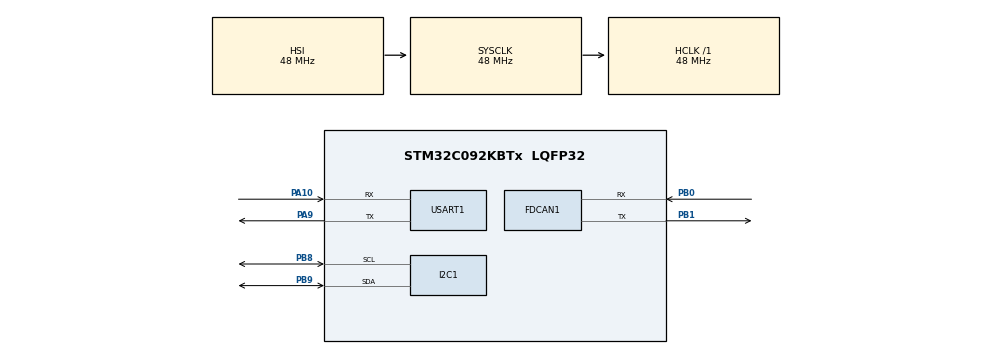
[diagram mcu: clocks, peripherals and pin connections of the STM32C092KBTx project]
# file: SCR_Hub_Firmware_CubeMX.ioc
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FDCAN1.CalculateBaudRateNominal=125000
FDCAN1.CalculateTimeBitNominal=8000
FDCAN1.CalculateTimeQuantumNominal=500.0
FDCAN1.NominalPrescaler=4
FDCAN1.NominalSyncJumpWidth=4
FDCAN1.NominalTimeSeg1=11
FDCAN1.NominalTimeSeg2=4
I2C1.Timing=0x10805D88
Mcu.Family=STM32C0
Mcu.Name=STM32C092KBTx
Mcu.Package=LQFP32
NVIC.FDCAN1_IT0_IRQn=true\:0\:0\:false\:false\:true\:true\:true\:true
NVIC.USART1_IRQn=true\:0\:0\:false\:false\:true\:true\:true\:true
PA10.Mode=Asynchronous
PA10.Signal=USART1_RX
PA13.Mode=Serial_Wire
PA13.Signal=DEBUG_SWDIO
PA14-BOOT0.Mode=Serial_Wire
PA14-BOOT0.Signal=DEBUG_SWCLK
PA9.Mode=Asynchronous
PA9.Signal=USART1_TX
PB0.Mode=FDCAN_Activate
PB0.Signal=FDCAN1_RX
PB1.Mode=FDCAN_Activate
PB1.Signal=FDCAN1_TX
PB8.Mode=I2C
PB8.Signal=I2C1_SCL
PB9.Mode=I2C
PB9.Signal=I2C1_SDA
PC14-OSCX_IN(PC14).Mode=HSE-External-Oscillator
PC14-OSCX_IN(PC14).Signal=RCC_OSCX_IN
PC15-OSCX_OUT(PC15).Mode=HSE-External-Oscillator
PC15-OSCX_OUT(PC15).Signal=RCC_OSCX_OUT
ProjectManager.HeapSize=0x200
ProjectManager.StackSize=0x400
ProjectManager.TargetToolchain=STM32CubeIDE
RCC.ADCFreq_Value=48000000
RCC.AHBFreq_Value=48000000
RCC.CortexFreq_Value=48000000
RCC.EXTERNAL_CLOCK_VALUE=12288000
RCC.FDCAN1CLockSelection=RCC_FDCAN1CLKSOURCE_HSE
RCC.HCLKFreq_Value=48000000
RCC.HSISYSCLKDivider=RCC_HSI_DIV1
RCC.HSI_VALUE=48000000
RCC.LSE_VALUE=32768
RCC.SYSCLKFreq_VALUE=48000000
USART1.VirtualMode-Asynchronous=VM_ASYNC
board=custom

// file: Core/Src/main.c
/* USER CODE BEGIN Header */
/**
  ******************************************************************************
  * @file           : main.c
  * @brief          : Main program body
  ******************************************************************************
  * @attention
  *
  * Copyright (c) 2026 STMicroelectronics.
  * All rights reserved.
  *
  * This software is licensed under terms that can be found in the LICENSE file
  * in the root directory of this software component.
  * If no LICENSE file comes with this software, it is provided AS-IS.
  *
  ******************************************************************************
  */
/* USER CODE END Header */
#include "main.h"

/* USER CODE BEGIN Includes */
#include <stdio.h>
#include "app/console.h"   /* UART debug console (printf + command menu) */
#include "app/hub_clock.h" /* boot on HSI48, then try the 8 MHz crystal */
/* USER CODE END Includes */

FDCAN_HandleTypeDef hfdcan1;

I2C_HandleTypeDef hi2c1;

UART_HandleTypeDef huart1;

void SystemClock_Config(void);
static void MX_GPIO_Init(void);
static void MX_FDCAN1_Init(void);
static void MX_I2C1_Init(void);
static void MX_USART1_UART_Init(void);

int main(void)
{

  /* MCU Configuration--------------------------------------------------------*/

  /* Reset of all peripherals, Initializes the Flash interface and the Systick. */
  HAL_Init();

  /* USER CODE BEGIN SysInit */
  /* Boot on HSI48 instead of the generated SystemClock_Config() (D-021/D-023).
   * Needs the CubeMX "Do Not Generate Function Call" ticks on SystemClock_Config
   * and MX_FDCAN1_Init; after every regenerate check main.c does not call them,
   * or the silent hang on a dead crystal returns (and FDCAN init runs twice).
   * hub_clock_boot() copies the CubeMX clock settings: update it if the clock
   * tree changes. Must run before the UART/I2C init below (they use 48 MHz). */
  hub_clock_boot();
  /* USER CODE END SysInit */

  /* Initialize all configured peripherals */
  MX_GPIO_Init();
  MX_I2C1_Init();
  MX_USART1_UART_Init();
  /* USER CODE BEGIN 2 */
  /* Start the debug console on USART1 (USB-C via CH340C, 115200 8N1).
   * Later this moves into hub_app_init() (D-022). */
  console_init(&huart1);

  /* Try the 8 MHz crystal now that the UART can report it. A dead crystal adds
   * about 100 ms to boot; a crystal failing after boot is not detected (Clock
   * Security System is a later option). FDCAN runs from the crystal, so it is
   * only set up if the crystal started; UART and I2C work either way. */
  if (hub_clock_start_hse())
  {
    printf("crystal OK\n");
    MX_FDCAN1_Init();
  }
  else
  {
    printf("crystal FAIL - CAN disabled\n");

    /* FDCAN is never set up, so PB1 (FDCAN1_TX, pin 16 -> MAX3051 TXD) would
     * float. A floating TXD could read as LOW = "dominant" and block the whole
     * robot CAN bus. Drive it HIGH (recessive = bus idle) as a plain output
     * (D-024). The level is set first so the pin never glitches LOW when it
     * becomes an output. GPIOB clock is already on (MX_GPIO_Init). PB0 untouched. */
    GPIO_InitTypeDef can_tx = {0};
    HAL_GPIO_WritePin(GPIOB, GPIO_PIN_1, GPIO_PIN_SET);
    can_tx.Pin   = GPIO_PIN_1;
    can_tx.Mode  = GPIO_MODE_OUTPUT_PP;
    can_tx.Pull  = GPIO_NOPULL;
    can_tx.Speed = GPIO_SPEED_FREQ_LOW;
    HAL_GPIO_Init(GPIOB, &can_tx);
  }
  /* USER CODE END 2 */

  /* Infinite loop */
  while (1)
  {

    /* USER CODE BEGIN 3 */
    console_poll();   /* handle typed characters; never waits */
  }
  /* USER CODE END 3 */
}

void SystemClock_Config(void)
{
  RCC_OscInitTypeDef RCC_OscInitStruct = {0};
  RCC_ClkInitTypeDef RCC_ClkInitStruct = {0};

  __HAL_FLASH_SET_LATENCY(FLASH_LATENCY_1);

  /** Initializes the RCC Oscillators according to the specified parameters
  * in the RCC_OscInitTypeDef structure.
  */
  RCC_OscInitStruct.OscillatorType = RCC_OSCILLATORTYPE_HSI|RCC_OSCILLATORTYPE_HSE;
  RCC_OscInitStruct.HSEState = RCC_HSE_ON;
  RCC_OscInitStruct.HSIState = RCC_HSI_ON;
  RCC_OscInitStruct.HSIDiv = RCC_HSI_DIV1;
  RCC_OscInitStruct.HSICalibrationValue = RCC_HSICALIBRATION_DEFAULT;
  if (HAL_RCC_OscConfig(&RCC_OscInitStruct) != HAL_OK)
  {
    Error_Handler();
  }

  /** Initializes the CPU, AHB and APB buses clocks
  */
  RCC_ClkInitStruct.ClockType = RCC_CLOCKTYPE_HCLK|RCC_CLOCKTYPE_SYSCLK
                              |RCC_CLOCKTYPE_PCLK1;
  RCC_ClkInitStruct.SYSCLKSource = RCC_SYSCLKSOURCE_HSI;
  RCC_ClkInitStruct.SYSCLKDivider = RCC_SYSCLK_DIV1;
  RCC_ClkInitStruct.AHBCLKDivider = RCC_HCLK_DIV1;
  RCC_ClkInitStruct.APB1CLKDivider = RCC_APB1_DIV1;

  if (HAL_RCC_ClockConfig(&RCC_ClkInitStruct, FLASH_LATENCY_1) != HAL_OK)
  {
    Error_Handler();
  }
}

static void MX_FDCAN1_Init(void)
{

  hfdcan1.Instance = FDCAN1;
  hfdcan1.Init.ClockDivider = FDCAN_CLOCK_DIV1;
  hfdcan1.Init.FrameFormat = FDCAN_FRAME_CLASSIC;
  hfdcan1.Init.Mode = FDCAN_MODE_NORMAL;
  hfdcan1.Init.AutoRetransmission = DISABLE;
  hfdcan1.Init.TransmitPause = DISABLE;
  hfdcan1.Init.ProtocolException = DISABLE;
  hfdcan1.Init.NominalPrescaler = 4;
  hfdcan1.Init.NominalSyncJumpWidth = 4;
  hfdcan1.Init.NominalTimeSeg1 = 11;
  hfdcan1.Init.NominalTimeSeg2 = 4;
  hfdcan1.Init.DataPrescaler = 1;
  hfdcan1.Init.DataSyncJumpWidth = 1;
  hfdcan1.Init.DataTimeSeg1 = 1;
  hfdcan1.Init.DataTimeSeg2 = 1;
  hfdcan1.Init.StdFiltersNbr = 0;
  hfdcan1.Init.ExtFiltersNbr = 0;
  hfdcan1.Init.TxFifoQueueMode = FDCAN_TX_FIFO_OPERATION;
  if (HAL_FDCAN_Init(&hfdcan1) != HAL_OK)
  {
    Error_Handler();
  }

}

static void MX_I2C1_Init(void)
{

  hi2c1.Instance = I2C1;
  hi2c1.Init.Timing = 0x10805D88;
  hi2c1.Init.OwnAddress1 = 0;
  hi2c1.Init.AddressingMode = I2C_ADDRESSINGMODE_7BIT;
  hi2c1.Init.DualAddressMode = I2C_DUALADDRESS_DISABLE;
  hi2c1.Init.OwnAddress2 = 0;
  hi2c1.Init.OwnAddress2Masks = I2C_OA2_NOMASK;
  hi2c1.Init.GeneralCallMode = I2C_GENERALCALL_DISABLE;
  hi2c1.Init.NoStretchMode = I2C_NOSTRETCH_DISABLE;
  if (HAL_I2C_Init(&hi2c1) != HAL_OK)
  {
    Error_Handler();
  }

  /** Configure Analogue filter
  */
  if (HAL_I2CEx_ConfigAnalogFilter(&hi2c1, I2C_ANALOGFILTER_ENABLE) != HAL_OK)
  {
    Error_Handler();
  }

  /** Configure Digital filter
  */
  if (HAL_I2CEx_ConfigDigitalFilter(&hi2c1, 0) != HAL_OK)
  {
    Error_Handler();
  }

}

static void MX_USART1_UART_Init(void)
{

  huart1.Instance = USART1;
  huart1.Init.BaudRate = 115200;
  huart1.Init.WordLength = UART_WORDLENGTH_8B;
  huart1.Init.StopBits = UART_STOPBITS_1;
  huart1.Init.Parity = UART_PARITY_NONE;
  huart1.Init.Mode = UART_MODE_TX_RX;
  huart1.Init.HwFlowCtl = UART_HWCONTROL_NONE;
  huart1.Init.OverSampling = UART_OVERSAMPLING_16;
  huart1.Init.OneBitSampling = UART_ONE_BIT_SAMPLE_DISABLE;
  huart1.Init.ClockPrescaler = UART_PRESCALER_DIV1;
  huart1.AdvancedInit.AdvFeatureInit = UART_ADVFEATURE_NO_INIT;
  if (HAL_UART_Init(&huart1) != HAL_OK)
  {
    Error_Handler();
  }
  if (HAL_UARTEx_SetTxFifoThreshold(&huart1, UART_TXFIFO_THRESHOLD_1_8) != HAL_OK)
  {
    Error_Handler();
  }
  if (HAL_UARTEx_SetRxFifoThreshold(&huart1, UART_RXFIFO_THRESHOLD_1_8) != HAL_OK)
  {
    Error_Handler();
  }
  if (HAL_UARTEx_DisableFifoMode(&huart1) != HAL_OK)
  {
    Error_Handler();
  }

}

static void MX_GPIO_Init(void)
{

  /* GPIO Ports Clock Enable */
  __HAL_RCC_GPIOB_CLK_ENABLE();
  __HAL_RCC_GPIOC_CLK_ENABLE();
  __HAL_RCC_GPIOA_CLK_ENABLE();

}

void Error_Handler(void)
{
  /* USER CODE BEGIN Error_Handler_Debug */
  /* User can add his own implementation to report the HAL error return state */
  /* Send the last buffered printf lines before stopping (up to 50 ms).
   * Safe everywhere: console_flush() returns at once if the console is not
   * started yet, inside an interrupt, or with interrupts already off. */
  console_flush(50);
  __disable_irq();
  while (1)
  {
  }
  /* USER CODE END Error_Handler_Debug */
}
